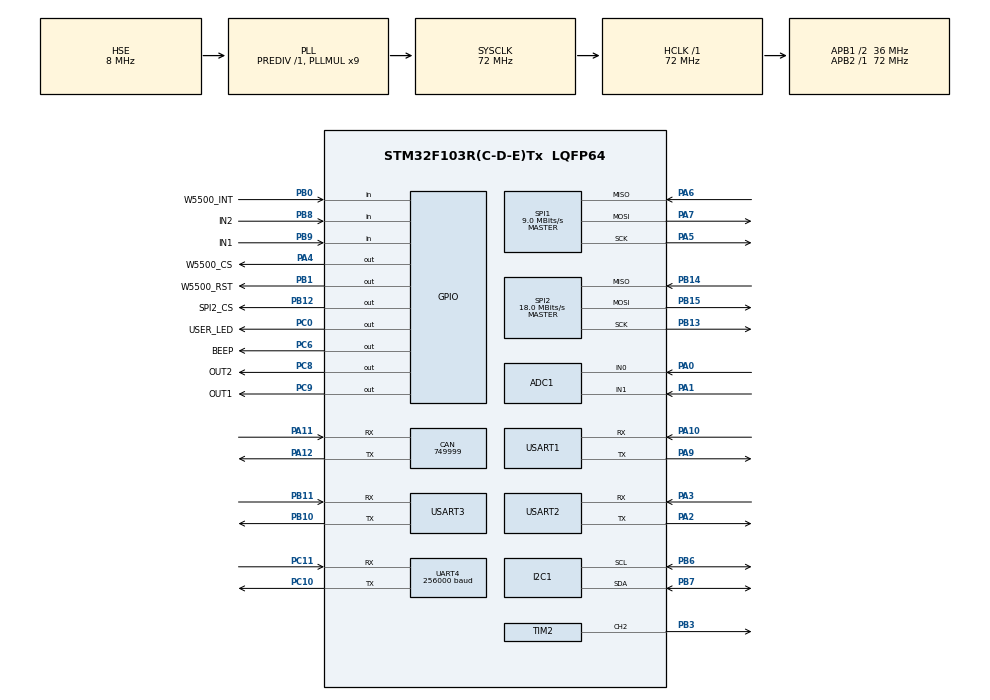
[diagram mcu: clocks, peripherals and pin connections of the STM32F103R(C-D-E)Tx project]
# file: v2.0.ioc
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ADC1.Channel-0\#ChannelRegularConversion=ADC_CHANNEL_0
ADC1.NbrOfConversionFlag=1
ADC1.Rank-0\#ChannelRegularConversion=1
ADC1.SamplingTime-0\#ChannelRegularConversion=ADC_SAMPLETIME_1CYCLE_5
ADC1.master=1
CAN.CalculateBaudRate=749999
CAN.CalculateTimeBit=1333
CAN.CalculateTimeQuantum=444.44444444444446
Dma.Request0=USART1_RX
Dma.Request1=USART3_RX
Dma.Request2=USART2_RX
Dma.Request3=UART4_RX
Dma.UART4_RX.3.Direction=DMA_PERIPH_TO_MEMORY
Dma.UART4_RX.3.Instance=DMA2_Channel3
Dma.UART4_RX.3.MemDataAlignment=DMA_MDATAALIGN_BYTE
Dma.UART4_RX.3.MemInc=DMA_MINC_ENABLE
Dma.UART4_RX.3.Mode=DMA_NORMAL
Dma.UART4_RX.3.PeriphDataAlignment=DMA_PDATAALIGN_BYTE
Dma.UART4_RX.3.PeriphInc=DMA_PINC_DISABLE
Dma.UART4_RX.3.Priority=DMA_PRIORITY_LOW
Dma.USART1_RX.0.Direction=DMA_PERIPH_TO_MEMORY
Dma.USART1_RX.0.Instance=DMA1_Channel5
Dma.USART1_RX.0.MemDataAlignment=DMA_MDATAALIGN_BYTE
Dma.USART1_RX.0.MemInc=DMA_MINC_ENABLE
Dma.USART1_RX.0.Mode=DMA_NORMAL
Dma.USART1_RX.0.PeriphDataAlignment=DMA_PDATAALIGN_BYTE
Dma.USART1_RX.0.PeriphInc=DMA_PINC_DISABLE
Dma.USART1_RX.0.Priority=DMA_PRIORITY_LOW
Dma.USART2_RX.2.Direction=DMA_PERIPH_TO_MEMORY
Dma.USART2_RX.2.Instance=DMA1_Channel6
Dma.USART2_RX.2.MemDataAlignment=DMA_MDATAALIGN_BYTE
Dma.USART2_RX.2.MemInc=DMA_MINC_ENABLE
Dma.USART2_RX.2.Mode=DMA_NORMAL
Dma.USART2_RX.2.PeriphDataAlignment=DMA_PDATAALIGN_BYTE
Dma.USART2_RX.2.PeriphInc=DMA_PINC_DISABLE
Dma.USART2_RX.2.Priority=DMA_PRIORITY_LOW
Dma.USART3_RX.1.Direction=DMA_PERIPH_TO_MEMORY
Dma.USART3_RX.1.Instance=DMA1_Channel3
Dma.USART3_RX.1.MemDataAlignment=DMA_MDATAALIGN_BYTE
Dma.USART3_RX.1.MemInc=DMA_MINC_ENABLE
Dma.USART3_RX.1.Mode=DMA_NORMAL
Dma.USART3_RX.1.PeriphDataAlignment=DMA_PDATAALIGN_BYTE
Dma.USART3_RX.1.PeriphInc=DMA_PINC_DISABLE
Dma.USART3_RX.1.Priority=DMA_PRIORITY_LOW
Mcu.Family=STM32F1
Mcu.Name=STM32F103R(C-D-E)Tx
Mcu.Package=LQFP64
NVIC.CAN1_SCE_IRQn=true\:0\:0\:false\:false\:true\:true\:true\:true
NVIC.DMA1_Channel3_IRQn=true\:0\:0\:false\:false\:true\:false\:true\:true
NVIC.DMA1_Channel5_IRQn=true\:0\:0\:false\:false\:true\:false\:true\:true
NVIC.DMA1_Channel6_IRQn=true\:0\:0\:false\:false\:true\:false\:true\:true
NVIC.DMA2_Channel3_IRQn=true\:0\:0\:false\:false\:true\:false\:true\:true
NVIC.PriorityGroup=NVIC_PRIORITYGROUP_4
NVIC.TIM3_IRQn=true\:0\:0\:false\:false\:true\:true\:true\:true
NVIC.UART4_IRQn=true\:0\:0\:false\:false\:true\:true\:true\:true
NVIC.USART1_IRQn=true\:0\:0\:false\:false\:true\:true\:true\:true
NVIC.USART2_IRQn=true\:0\:0\:false\:false\:true\:true\:true\:true
NVIC.USART3_IRQn=true\:0\:0\:false\:false\:true\:true\:true\:true
NVIC.USB_LP_CAN1_RX0_IRQn=true\:0\:0\:false\:false\:true\:true\:true\:true
PA0-WKUP.Signal=SharedAnalog_PA0
PA1.Signal=SharedAnalog_PA1
PA10.Mode=Asynchronous
PA10.Signal=USART1_RX
PA11.Mode=CAN_Activate
PA11.Signal=CAN_RX
PA12.Mode=CAN_Activate
PA12.Signal=CAN_TX
PA13.Mode=Serial_Wire
PA13.Signal=SYS_JTMS-SWDIO
PA14.Mode=Serial_Wire
PA14.Signal=SYS_JTCK-SWCLK
PA2.Mode=Asynchronous
PA2.Signal=USART2_TX
PA3.Mode=Asynchronous
PA3.Signal=USART2_RX
PA4.GPIO_Label=W5500_CS
PA4.Signal=GPIO_Output
PA5.Mode=Full_Duplex_Master
PA5.Signal=SPI1_SCK
PA6.Mode=Full_Duplex_Master
PA6.Signal=SPI1_MISO
PA7.Mode=Full_Duplex_Master
PA7.Signal=SPI1_MOSI
PA9.Mode=Asynchronous
PA9.Signal=USART1_TX
PB0.GPIO_Label=W5500_INT
PB0.Signal=GPIO_Input
PB1.GPIO_Label=W5500_RST
PB1.Signal=GPIO_Output
PB10.Mode=Asynchronous
PB10.Signal=USART3_TX
PB11.Mode=Asynchronous
PB11.Signal=USART3_RX
PB12.GPIO_Label=SPI2_CS
PB12.Signal=GPIO_Output
PB13.Mode=Full_Duplex_Master
PB13.Signal=SPI2_SCK
PB14.Mode=Full_Duplex_Master
PB14.Signal=SPI2_MISO
PB15.Mode=Full_Duplex_Master
PB15.Signal=SPI2_MOSI
PB3.Signal=S_TIM2_CH2
PB6.Mode=I2C
PB6.Signal=I2C1_SCL
PB7.Mode=I2C
PB7.Signal=I2C1_SDA
PB8.GPIO_Label=IN2
PB8.Signal=GPIO_Input
PB9.GPIO_Label=IN1
PB9.Signal=GPIO_Input
PC0.GPIO_Label=USER_LED
PC0.Signal=GPIO_Output
PC10.Mode=Asynchronous
PC10.Signal=UART4_TX
PC11.Mode=Asynchronous
PC11.Signal=UART4_RX
PC14-OSC32_IN.Mode=LSE-External-Oscillator
PC14-OSC32_IN.Signal=RCC_OSC32_IN
PC15-OSC32_OUT.Mode=LSE-External-Oscillator
PC15-OSC32_OUT.Signal=RCC_OSC32_OUT
PC6.GPIO_Label=BEEP
PC6.Signal=GPIO_Output
PC8.GPIO_Label=OUT2
PC8.Signal=GPIO_Output
PC9.GPIO_Label=OUT1
PC9.Signal=GPIO_Output
PD0-OSC_IN.Mode=HSE-External-Oscillator
PD0-OSC_IN.Signal=RCC_OSC_IN
PD1-OSC_OUT.Mode=HSE-External-Oscillator
PD1-OSC_OUT.Signal=RCC_OSC_OUT
ProjectManager.HeapSize=0x2000
ProjectManager.StackSize=0xA00
ProjectManager.TargetToolchain=MDK-ARM V5.32
RCC.ADCPresc=RCC_ADCPCLK2_DIV6
RCC.AHBFreq_Value=72000000
RCC.APB1CLKDivider=RCC_HCLK_DIV2
RCC.APB1Freq_Value=36000000
RCC.APB1TimFreq_Value=72000000
RCC.APB2Freq_Value=72000000
RCC.APB2TimFreq_Value=72000000
RCC.HCLKFreq_Value=72000000
RCC.PLLMUL=RCC_PLL_MUL9
RCC.PLLSourceVirtual=RCC_PLLSOURCE_HSE
RCC.SYSCLKFreq_VALUE=72000000
RCC.SYSCLKSource=RCC_SYSCLKSOURCE_PLLCLK
RCC.USBFreq_Value=72000000
SH.S_TIM2_CH2.0=TIM2_CH2,PWM Generation2 CH2
SH.SharedAnalog_PA0.0=GPIO_Analog
SH.SharedAnalog_PA0.1=ADC1_IN0,IN0
SH.SharedAnalog_PA1.0=GPIO_Analog
SH.SharedAnalog_PA1.1=ADC1_IN1,IN1
SPI1.BaudRatePrescaler=SPI_BAUDRATEPRESCALER_8
SPI1.CalculateBaudRate=9.0 MBits/s
SPI1.Direction=SPI_DIRECTION_2LINES
SPI1.Mode=SPI_MODE_MASTER
SPI1.VirtualType=VM_MASTER
SPI2.CalculateBaudRate=18.0 MBits/s
SPI2.Direction=SPI_DIRECTION_2LINES
SPI2.Mode=SPI_MODE_MASTER
SPI2.VirtualType=VM_MASTER
TIM2.Channel-PWM\ Generation2\ CH2=TIM_CHANNEL_2
TIM2.Period=100 - 1
TIM2.Prescaler=7200 - 1
TIM3.Period=10000-1
TIM3.Prescaler=7200-1
UART4.BaudRate=256000
UART4.VirtualMode=Asynchronous
USART1.VirtualMode=VM_ASYNC
USART2.VirtualMode=VM_ASYNC
USART3.VirtualMode=VM_ASYNC
VP_TIM2_VS_ClockSourceINT.Mode=Internal
VP_TIM3_VS_ClockSourceINT.Mode=Internal
board=custom

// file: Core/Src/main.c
/* USER CODE BEGIN Header */
/**
  ******************************************************************************
  * @file           : main.c
  * @brief          : Main program body
  ******************************************************************************
  * @attention
  *
  * Copyright (c) 2026 STMicroelectronics.
  * All rights reserved.
  *
  * This software is licensed under terms that can be found in the LICENSE file
  * in the root directory of this software component.
  * If no LICENSE file comes with this software, it is provided AS-IS.
  *
  ******************************************************************************
  */
/* USER CODE END Header */
#include "main.h"
#include "adc.h"
#include "can.h"
#include "dma.h"
#include "i2c.h"
#include "spi.h"
#include "tim.h"
#include "usart.h"
#include "gpio.h"

/* USER CODE BEGIN Includes */
#include "digital.h"
#include "stdio.h"

#include "lfs_user.h"
#include "msh.h"
#include "app_w25qxx.h"
#include "app_w5500.h"
#include "temp.h"
#include "Filter_manager.h"

#include "app_flashdb.h"
#include "dns.h"
#include "mqtt_interface.h"
#include "app_w5500_ntp.h"
#include "env.h"
#include "mb_slave_app.h"
#include "INA226.h"

/* USER CODE END Includes */

void SystemClock_Config(void);

/* USER CODE BEGIN 0 */
uint8_t u1_rx[256];
uint8_t u2_rx[256];
uint8_t u3_rx[256];
uint8_t u4_rx[256];

int fputc(int ch, FILE *f)
{
  HAL_UART_Transmit(&huart1, (uint8_t*)&ch, 1, HAL_MAX_DELAY);
	return ch;
}
#define DEBUG_ENABLE    1
#define DEBUG_LOG "[ MAIN ]"
uint8_t test[] = "AT\r\n";
/* USER CODE END 0 */

int main(void)
{

  /* MCU Configuration--------------------------------------------------------*/

  /* Reset of all peripherals, Initializes the Flash interface and the Systick. */
  HAL_Init();

  /* Configure the system clock */
  SystemClock_Config();

  /* USER CODE BEGIN SysInit */

  __enable_irq();
  /* USER CODE END SysInit */

  /* Initialize all configured peripherals */
  MX_GPIO_Init();
  MX_DMA_Init();
  MX_SPI1_Init();
  MX_SPI2_Init();
  MX_USART1_UART_Init();
  MX_USART2_UART_Init();
  MX_USART3_UART_Init();
  MX_CAN_Init();
  MX_TIM2_Init();
  MX_ADC1_Init();
  MX_TIM3_Init();
  MX_I2C1_Init();
  MX_UART4_Init();
  /* USER CODE BEGIN 2 */
#ifndef MSH_USE_RTT
	HAL_UARTEx_ReceiveToIdle_DMA(&huart1 , u1_rx , sizeof(u1_rx));
#endif
	HAL_UARTEx_ReceiveToIdle_DMA(&huart2 , u2_rx , sizeof(u2_rx));

	HAL_UARTEx_ReceiveToIdle_DMA(&huart3 , u3_rx , sizeof(u3_rx));

	HAL_UARTEx_ReceiveToIdle_DMA(&huart4 , u4_rx , sizeof(u4_rx));

	HAL_TIM_Base_Start_IT(&htim3);
	HAL_TIM_PWM_Start(&htim2 , TIM_CHANNEL_2);
	HAL_ADC_Start(&hadc1);

	wizchip_initialize();
  app_flashdb_init();
	INA226_Init();
	board_temp_init(); // ADC自校准，提升精度

	msh_init();
  filter_info_init();
	board_info_Init();
  app_w5500_tcp_client_init(); //w5500 tcp client 参数初始化
	DEBUG_PRINT("APP Init Finish , Version:%s\r\n" , VERSION);
//	HAL_UART_Transmit(&huart2 , test , sizeof(test) , 1000);
  /* USER CODE END 2 */

  /* Infinite loop */
  /* USER CODE BEGIN WHILE */
  while (1)
  {
    msh_process();
    Set_digital_State_refresh();
		network_proc();
		board_info_refresh();
		mb_s_poll();
		env_proc();
    HAL_Delay(10);
    /* USER CODE END WHILE */

  }
}

void SystemClock_Config(void)
{
  RCC_OscInitTypeDef RCC_OscInitStruct = {0};
  RCC_ClkInitTypeDef RCC_ClkInitStruct = {0};
  RCC_PeriphCLKInitTypeDef PeriphClkInit = {0};

  /** Initializes the RCC Oscillators according to the specified parameters
  * in the RCC_OscInitTypeDef structure.
  */
  RCC_OscInitStruct.OscillatorType = RCC_OSCILLATORTYPE_HSE;
  RCC_OscInitStruct.HSEState = RCC_HSE_ON;
  RCC_OscInitStruct.HSEPredivValue = RCC_HSE_PREDIV_DIV1;
  RCC_OscInitStruct.HSIState = RCC_HSI_ON;
  RCC_OscInitStruct.PLL.PLLState = RCC_PLL_ON;
  RCC_OscInitStruct.PLL.PLLSource = RCC_PLLSOURCE_HSE;
  RCC_OscInitStruct.PLL.PLLMUL = RCC_PLL_MUL9;
  if (HAL_RCC_OscConfig(&RCC_OscInitStruct) != HAL_OK)
  {
    Error_Handler();
  }

  /** Initializes the CPU, AHB and APB buses clocks
  */
  RCC_ClkInitStruct.ClockType = RCC_CLOCKTYPE_HCLK|RCC_CLOCKTYPE_SYSCLK
                              |RCC_CLOCKTYPE_PCLK1|RCC_CLOCKTYPE_PCLK2;
  RCC_ClkInitStruct.SYSCLKSource = RCC_SYSCLKSOURCE_PLLCLK;
  RCC_ClkInitStruct.AHBCLKDivider = RCC_SYSCLK_DIV1;
  RCC_ClkInitStruct.APB1CLKDivider = RCC_HCLK_DIV2;
  RCC_ClkInitStruct.APB2CLKDivider = RCC_HCLK_DIV1;

  if (HAL_RCC_ClockConfig(&RCC_ClkInitStruct, FLASH_LATENCY_2) != HAL_OK)
  {
    Error_Handler();
  }
  PeriphClkInit.PeriphClockSelection = RCC_PERIPHCLK_ADC;
  PeriphClkInit.AdcClockSelection = RCC_ADCPCLK2_DIV6;
  if (HAL_RCCEx_PeriphCLKConfig(&PeriphClkInit) != HAL_OK)
  {
    Error_Handler();
  }
}

/* USER CODE BEGIN 4 */
void HAL_UARTEx_RxEventCallback(UART_HandleTypeDef *huart, uint16_t Size)
{
#if !MSH_USE_RTT
	if(huart->Instance == USART1){
		msh_rx_data(u1_rx , Size);
	}else
#endif
	if(huart->Instance == USART3){
		mb_data_get(mb_slave_devs , 3 , u3_rx , Size);
	}
	else if(huart->Instance == USART2)
	{

	}
	else if(huart->Instance == UART4)
	{

	}
}

void HAL_TIM_PeriodElapsedCallback(TIM_HandleTypeDef *htim)
{
	if(htim->Instance == TIM3)
	{
		DHCP_time_handler();
		DNS_time_handler();
    MilliTimer_Handler();
		app_w5500_ntp_1s_callback();
    app_w5500_1s_callback();
		// tcp_1s_callback();

	}
}
/* USER CODE END 4 */

void Error_Handler(void)
{
  __disable_irq();
  while (1)
  {
  }
}
